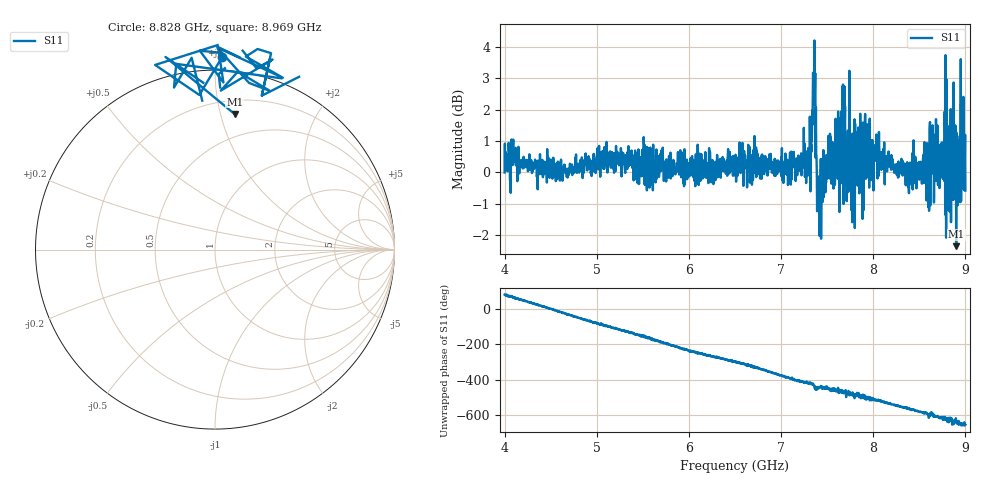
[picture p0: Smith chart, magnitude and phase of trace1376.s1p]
! Created with skrf 1.8.0 (http://scikit-rf.org).
# Hz S RI R 50.0
!freq ReS11 ImS11
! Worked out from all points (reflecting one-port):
!   1601 points, 4 GHz to 9 GHz, reference 50 ohm
!   lowest |S11| = -2.4 dB at 8.9 GHz (marker M1), VSWR 7.44, Z = 15.3 + j55.4 ohm
!   phase of S11 starts at 79 deg and turns -730 deg over the sweep
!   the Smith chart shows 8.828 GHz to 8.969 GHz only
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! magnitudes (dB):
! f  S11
! 4 GHz  0.0
! 4.094 GHz  1.0
! 4.625 GHz  -0.2
! 5.25 GHz  0.4
! 5.875 GHz  0.0
! 6.5 GHz  0.2
! 7.125 GHz  0.4
! 7.297 GHz  0.4
! 7.353 GHz  2.5
! 7.369 GHz  3.1
! 7.4 GHz  -0.9
! 7.412 GHz  -0.1
! 7.466 GHz  0.4
! 7.609 GHz  0.4
! 7.669 GHz  1.6
! 7.703 GHz  -0.4
! 7.75 GHz  0.9
! 7.784 GHz  -0.2
! 7.928 GHz  0.3
! 8.375 GHz  -0.1
! 8.538 GHz  0.3
! 8.584 GHz  0.9
! 8.638 GHz  0.3
! 8.766 GHz  0.1
! 8.8 GHz  1.1
! 8.9 GHz  -2.4
! 8.959 GHz  1.5
! 9 GHz  -0.6
